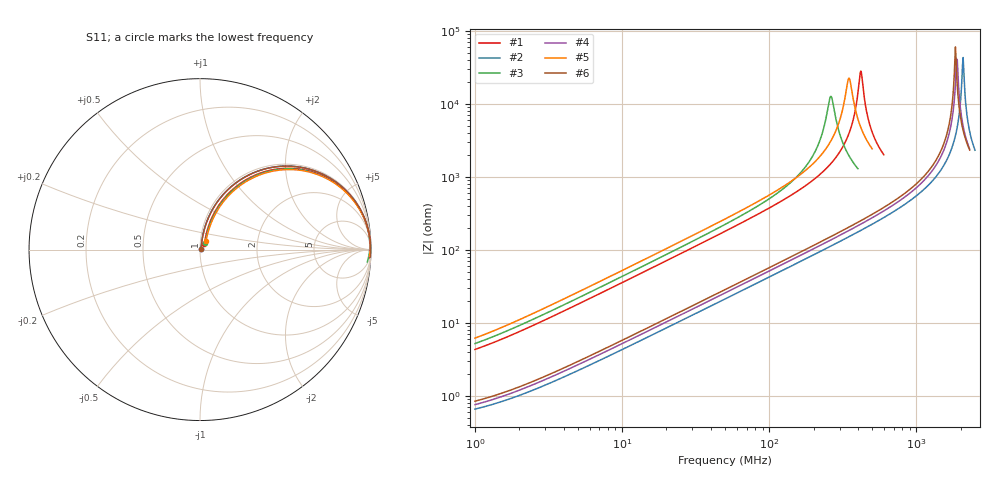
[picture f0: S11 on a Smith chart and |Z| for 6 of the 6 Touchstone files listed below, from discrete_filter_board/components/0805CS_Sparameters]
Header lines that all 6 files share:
# MHz S MA R 50
!Freq  MagS11  AngS11  MagS21  AngS21  MagS12  AngS12  MagS22  AngS22
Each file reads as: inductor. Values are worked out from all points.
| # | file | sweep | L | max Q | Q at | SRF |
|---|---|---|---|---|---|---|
| 1 | 0805CS-561.s2p | 1 MHz to 600 MHz | 560 nH | 49.3 | 142.3 MHz | 418.7 MHz |
| 2 | 0805CS-680.s2p | 1 MHz to 2.5 GHz | 67 nH | 72.7 | 765.6 MHz | 2.056 GHz |
| 3 | 0805CS-681.s2p | 1 MHz to 400 MHz | 680 nH | 34.9 | 86.16 MHz | 261 MHz |
| 4 | 0805CS-820.s2p | 1 MHz to 2.3 GHz | 81 nH | 74 | 686.2 MHz | 1.877 GHz |
| 5 | 0805CS-821.s2p | 1 MHz to 500 MHz | 820 nH | 38 | 112.5 MHz | 347.1 MHz |
| 6 | 0805CS-910.s2p | 1 MHz to 2.3 GHz | 90 nH | 78.6 | 699.6 MHz | 1.841 GHz |
